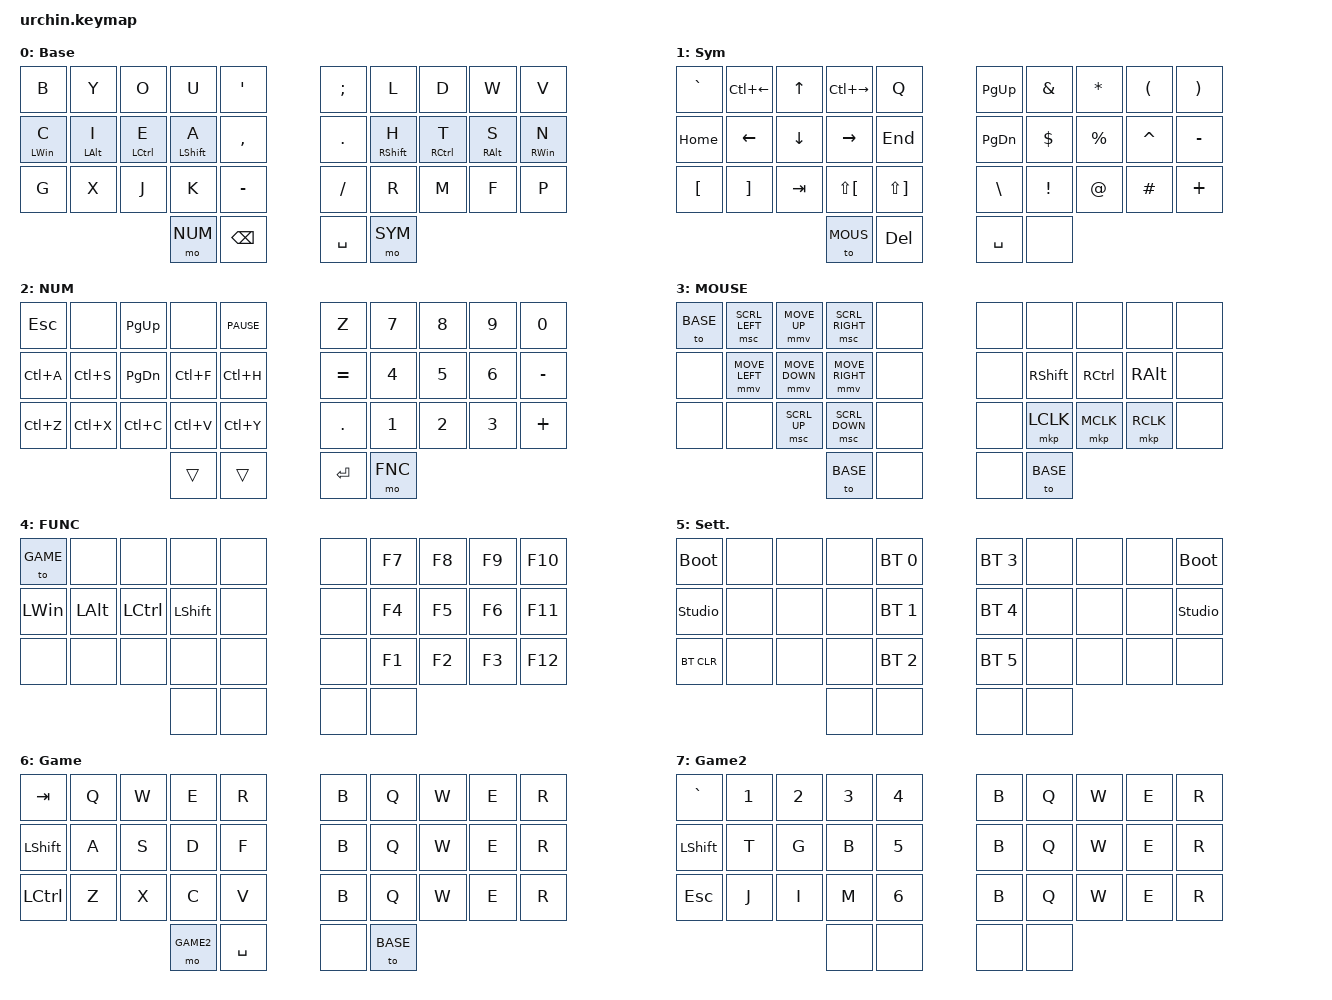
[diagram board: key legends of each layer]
/*
 * Copyright (c) 2020 duckyb
 *
 * SPDX-License-Identifier: MIT
 * 
 * keys: https://zmk.dev/docs/codes
 */

#define ZMK_POINTING_DEFAULT_MOVE_VAL 1500  // 600
#define ZMK_POINTING_DEFAULT_SCRL_VAL 20    // 10

#include <behaviors.dtsi>
#include <dt-bindings/zmk/keys.h>
#include <dt-bindings/zmk/bt.h>
#include <dt-bindings/zmk/outputs.h>
#include <dt-bindings/zmk/pointing.h>

&mmv {
  acceleration-exponent = <1>;      // 1
  time-to-max-speed-ms = <500>;    // 40
  delay-ms = <0>;                   // 0
};

&msc {
  acceleration-exponent = <1>;      // 0
  time-to-max-speed-ms = <40>;      // 500
  delay-ms = <0>;                   // 10
};

// Layer definitions
#define BASE 0
#define SYM 1
#define NUM 2
#define MOUS 3
#define FNC 4
#define SETTINGS 5
#define GAME 6
#define GAME2 7
// -----------------

/ {
	behaviors {
		lht: left_positional_hold_tap {
            compatible = "zmk,behavior-hold-tap";
            #binding-cells = <2>;
            flavor = "balanced";
            tapping-term-ms = <300>;                        // <---[[produces tap if held longer than tapping-term-ms]]
            quick-tap-ms = <175>;
    		require-prior-idle-ms = <100>;
			hold-trigger-on-release;
            bindings = <&kp>, <&kp>;
            hold-trigger-key-positions = <5 6 7 8 9 15 16 17 18 19 25 26 27 28 29>;    // <---[[right-hand keys]]
        };
		rht: right_positional_hold_tap {
            compatible = "zmk,behavior-hold-tap";
            #binding-cells = <2>;
            flavor = "balanced";
            tapping-term-ms = <300>;                        // <---[[produces tap if held longer than tapping-term-ms]]
            quick-tap-ms = <175>;
    		require-prior-idle-ms = <100>;
			hold-trigger-on-release;
            bindings = <&kp>, <&kp>;
            hold-trigger-key-positions = <0 1 2 3 4 10 11 12 13 14 20 21 22 23 24>;    // <---[[left-hand keys]]
        };
	};

	macros {
	};

	combos {
		compatible = "zmk,combos";
		// both left thumb keys
		combo_settings {
			timeout-ms = <200>;
			key-positions = <30 31>;
			bindings = <&mo SETTINGS>;
		};
	};

	keymap {
		compatible = "zmk,keymap";
		// Base alpha layer
		default_layer {
			label = "Base";
			bindings = <
			&kp B &kp Y &kp O &kp U &kp APOS                                              &kp SEMI &kp L &kp D &kp W &kp V
			&lht LWIN C &lht LALT I &lht LCTRL E &lht LSHFT A &kp COMMA       &kp DOT  &rht RSHFT H &rht RCTRL T &rht RALT S &rht RWIN N
			&kp G &kp X &kp J &kp K &kp MINUS                                             &kp FSLH &kp R &kp M &kp F &kp P
			       &mo NUM &kp BACKSPACE                                                  &kp SPACE &mo SYM 
			>;
		};

		// Numbers and high frequency symbols
		sym_layer {
			label = "Sym";
			bindings = <
			&kp GRAVE &kp LC(LEFT) &kp UP   &kp LC(RIGHT) &kp Q		        &kp PG_UP &kp AMPS &kp ASTRK &kp LPAR  &kp RPAR
			&kp HOME  &kp LEFT 	   &kp DOWN &kp RIGHT     &kp END		    &kp PG_DN &kp DLLR &kp PRCNT &kp CARET  &kp MINUS
			&kp LBKT  &kp RBKT     &kp TAB  &kp LS(LBKT)  &kp LS(RBKT)		&kp BSLH  &kp EXCL &kp AT    &kp POUND &kp PLUS 
							                      &to MOUS &kp DEL              &kp SPACE &none  
			>;
		};

		// Main modifiers and arrow keys
		ext_layer {
			label = "NUM";
			bindings = <
			&kp ESC  &none &kp PG_UP  &none  &kp C_PAUSE    	&kp Z  &kp N7 &kp N8 &kp N9 &kp N0
			&kp LC(A) &kp LC(S)  &kp PG_DN  &kp LC(F)  &kp LC(H) 			&kp EQUAL &kp N4 &kp N5 &kp N6 &kp MINUS
			&kp LC(Z)  &kp LC(X) &kp LC(C) &kp LC(V)   &kp LC(Y)          &kp DOT &kp N1 &kp N2 &kp N3 &kp PLUS
												&trans &trans    &kp ENTER  &mo FNC 
			>;
		};

		// Mouse keys
		mouse_layer {
			label = "MOUSE";
			bindings = <
			&to BASE &msc SCRL_LEFT &mmv MOVE_UP &msc SCRL_RIGHT &none              &none &none &none &none &none 
			&none    &mmv MOVE_LEFT &mmv MOVE_DOWN &mmv MOVE_RIGHT &none       &none &kp RIGHT_SHIFT &kp RIGHT_CONTROL &kp RIGHT_ALT &none
			&none    &none        &msc SCRL_UP &msc SCRL_DOWN &none				&none &mkp LCLK &mkp MCLK &mkp RCLK &none
							  &to BASE &none              &none &to BASE 
			>;
		};

		// Function keys with modifiers
		fnc_layer {
			label = "FUNC";
			bindings = <
			&to GAME &none &none &none &none                  &none &kp F7 &kp F8 &kp F9 &kp F10 
			&kp LWIN &kp LALT &kp LCTRL &kp LSHFT &none    	&none &kp F4 &kp F5 &kp F6 &kp F11
			&none &none &none &none &none				        &none &kp F1 &kp F2 &kp F3 &kp F12
							  &none &none              &none &none  
			>;
		};

		// Used to change the keyboard's settings.
		settings_layer {
				label = "Sett.";
				bindings = <
				&bootloader &none &none &none &bt BT_SEL 0               &bt BT_SEL 3 &none &none &none &bootloader 
				&studio_unlock &none &none &none      &bt BT_SEL 1 						  &bt BT_SEL 4 &none &none &none &studio_unlock
				&bt BT_CLR &none &none &none      &bt BT_SEL 2               &bt BT_SEL 5 &none &none &none &none
										&none &none                         &none &none 
				>;
		};

		// Game layer 1
		gaming_layer {
				label = "Game";
				bindings = <
				&kp TAB &kp Q &kp W &kp E &kp R               &kp B &kp Q &kp W &kp E &kp R 
				&kp LSHFT &kp A &kp S &kp D &kp F  				&kp B &kp Q &kp W &kp E &kp R 
				&kp LCTRL &kp Z &kp X &kp C &kp V               &kp B &kp Q &kp W &kp E &kp R 
								&mo GAME2 &kp SPACE                         &none &to BASE 
				>;
		};

		// Game layer 2
		gaming_layer2 {
				label = "Game2";
				bindings = <
				&kp GRAVE &kp N1 &kp N2 &kp N3 &kp N4               &kp B &kp Q &kp W &kp E &kp R 
				&kp LSHFT &kp T &kp G &kp B &kp N5  				&kp B &kp Q &kp W &kp E &kp R 
				&kp ESC &kp J &kp I &kp M &kp N6               &kp B &kp Q &kp W &kp E &kp R 
								&none &none                         &none &none 
				>;
		};
	};
};
